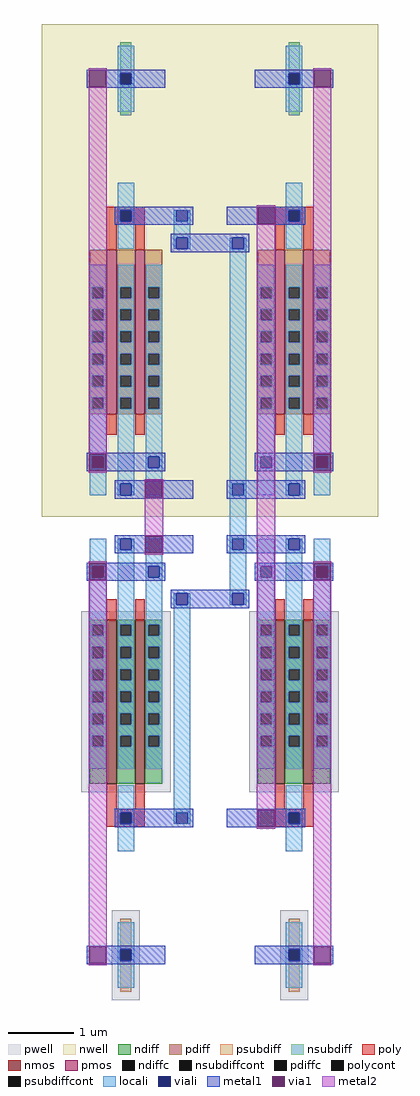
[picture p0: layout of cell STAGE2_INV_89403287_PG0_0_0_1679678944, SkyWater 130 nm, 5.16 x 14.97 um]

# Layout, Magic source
magic
tech sky130A
magscale 1 2
<< locali >>
rect 405 2419 413 2453
rect 447 2419 455 2453
rect 405 2369 455 2419
rect 405 2335 413 2369
rect 447 2335 455 2369
rect 577 2335 585 2369
rect 619 2335 627 2369
rect 577 1613 627 2335
rect 577 1579 585 1613
rect 619 1579 627 1613
rect 577 1445 627 1579
rect 577 1411 585 1445
rect 619 1411 627 1445
rect 577 1277 627 1411
rect 405 1243 413 1277
rect 447 1243 455 1277
rect 577 1243 585 1277
rect 619 1243 627 1277
rect 405 605 455 1243
rect 405 571 413 605
rect 447 571 455 605
<< viali >>
rect 413 2419 447 2453
rect 413 2335 447 2369
rect 585 2335 619 2369
rect 585 1579 619 1613
rect 585 1411 619 1445
rect 413 1243 447 1277
rect 585 1243 619 1277
rect 413 571 447 605
<< metal1 >>
rect 396 2453 464 2464
rect 396 2419 413 2453
rect 447 2419 464 2453
rect 396 2408 464 2419
rect 656 2462 720 2464
rect 656 2410 662 2462
rect 714 2410 720 2462
rect 656 2408 720 2410
rect 396 2369 636 2380
rect 396 2335 413 2369
rect 447 2335 585 2369
rect 619 2335 636 2369
rect 396 2324 636 2335
rect 312 1622 376 1624
rect 312 1570 318 1622
rect 370 1570 376 1622
rect 312 1568 376 1570
rect 568 1613 636 1624
rect 568 1579 585 1613
rect 619 1579 636 1613
rect 568 1568 636 1579
rect 312 1454 376 1456
rect 312 1402 318 1454
rect 370 1402 376 1454
rect 312 1400 376 1402
rect 568 1445 636 1456
rect 568 1411 585 1445
rect 619 1411 636 1445
rect 568 1400 636 1411
rect 396 1277 636 1288
rect 396 1243 413 1277
rect 447 1243 585 1277
rect 619 1243 636 1277
rect 396 1232 636 1243
rect 396 605 464 616
rect 396 571 413 605
rect 447 571 464 605
rect 396 560 464 571
rect 656 614 720 616
rect 656 562 662 614
rect 714 562 720 614
rect 656 560 720 562
<< via1 >>
rect 662 2410 714 2462
rect 318 1570 370 1622
rect 318 1402 370 1454
rect 662 562 714 614
<< metal2 >>
rect 660 2462 716 2468
rect 660 2410 662 2462
rect 714 2410 716 2462
rect 316 1622 372 1628
rect 316 1570 318 1622
rect 370 1570 372 1622
rect 316 1454 372 1570
rect 316 1402 318 1454
rect 370 1402 372 1454
rect 316 1396 372 1402
rect 660 614 716 2410
rect 660 562 662 614
rect 714 562 716 614
rect 660 556 716 562
use NMOS_S_42092372_X1_Y1_1679678942_1679678944  NMOS_S_42092372_X1_Y1_1679678942_1679678944_0
transform -1 0 516 0 -1 1512
box 52 56 395 1482
use NMOS_S_42092372_X1_Y1_1679678942_1679678944  NMOS_S_42092372_X1_Y1_1679678942_1679678944_1
transform 1 0 516 0 -1 1512
box 52 56 395 1482
use PMOS_S_45039047_X1_Y1_1679678943_1679678944  PMOS_S_45039047_X1_Y1_1679678943_1679678944_0
transform -1 0 516 0 1 1512
box 0 0 516 1512
use PMOS_S_45039047_X1_Y1_1679678943_1679678944  PMOS_S_45039047_X1_Y1_1679678943_1679678944_1
transform 1 0 516 0 1 1512
box 0 0 516 1512
<< end >>

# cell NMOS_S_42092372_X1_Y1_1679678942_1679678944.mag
magic
tech sky130A
magscale 1 2
<< pwell >>
rect 215 1206 301 1482
rect 121 289 395 845
<< nmos >>
rect 200 315 230 819
rect 286 315 316 819
<< ndiff >>
rect 147 705 200 819
rect 147 671 155 705
rect 189 671 200 705
rect 147 637 200 671
rect 147 603 155 637
rect 189 603 200 637
rect 147 569 200 603
rect 147 535 155 569
rect 189 535 200 569
rect 147 501 200 535
rect 147 467 155 501
rect 189 467 200 501
rect 147 433 200 467
rect 147 399 155 433
rect 189 399 200 433
rect 147 365 200 399
rect 147 331 155 365
rect 189 331 200 365
rect 147 315 200 331
rect 230 705 286 819
rect 230 671 241 705
rect 275 671 286 705
rect 230 637 286 671
rect 230 603 241 637
rect 275 603 286 637
rect 230 569 286 603
rect 230 535 241 569
rect 275 535 286 569
rect 230 501 286 535
rect 230 467 241 501
rect 275 467 286 501
rect 230 433 286 467
rect 230 399 241 433
rect 275 399 286 433
rect 230 365 286 399
rect 230 331 241 365
rect 275 331 286 365
rect 230 315 286 331
rect 316 705 369 819
rect 316 671 327 705
rect 361 671 369 705
rect 316 637 369 671
rect 316 603 327 637
rect 361 603 369 637
rect 316 569 369 603
rect 316 535 327 569
rect 361 535 369 569
rect 316 501 369 535
rect 316 467 327 501
rect 361 467 369 501
rect 316 433 369 467
rect 316 399 327 433
rect 361 399 369 433
rect 316 365 369 399
rect 316 331 327 365
rect 361 331 369 365
rect 316 315 369 331
<< ndiffc >>
rect 155 671 189 705
rect 155 603 189 637
rect 155 535 189 569
rect 155 467 189 501
rect 155 399 189 433
rect 155 331 189 365
rect 241 671 275 705
rect 241 603 275 637
rect 241 535 275 569
rect 241 467 275 501
rect 241 399 275 433
rect 241 331 275 365
rect 327 671 361 705
rect 327 603 361 637
rect 327 535 361 569
rect 327 467 361 501
rect 327 399 361 433
rect 327 331 361 365
<< psubdiff >>
rect 241 1361 275 1456
rect 241 1232 275 1327
<< psubdiffcont >>
rect 241 1327 275 1361
<< poly >>
rect 200 941 316 951
rect 200 907 241 941
rect 275 907 316 941
rect 200 897 316 907
rect 200 819 230 897
rect 286 819 316 897
rect 200 252 230 315
rect 286 252 316 315
<< polycont >>
rect 241 907 275 941
<< locali >>
rect 233 1361 283 1445
rect 233 1327 241 1361
rect 275 1327 283 1361
rect 233 1243 283 1327
rect 233 941 283 1025
rect 233 907 241 941
rect 275 907 283 941
rect 233 823 283 907
rect 147 705 197 773
rect 147 671 155 705
rect 189 671 197 705
rect 147 637 197 671
rect 147 603 155 637
rect 189 603 197 637
rect 147 569 197 603
rect 147 535 155 569
rect 189 535 197 569
rect 147 501 197 535
rect 147 467 155 501
rect 189 467 197 501
rect 147 433 197 467
rect 147 399 155 433
rect 189 399 197 433
rect 147 365 197 399
rect 147 331 155 365
rect 189 331 197 365
rect 147 185 197 331
rect 147 151 155 185
rect 189 151 197 185
rect 147 67 197 151
rect 233 705 283 773
rect 233 671 241 705
rect 275 671 283 705
rect 233 637 283 671
rect 233 603 241 637
rect 275 603 283 637
rect 233 569 283 603
rect 233 535 241 569
rect 275 535 283 569
rect 233 501 283 535
rect 233 467 241 501
rect 275 467 283 501
rect 233 433 283 467
rect 233 399 241 433
rect 275 399 283 433
rect 233 365 283 399
rect 233 331 241 365
rect 275 331 283 365
rect 233 101 283 331
rect 233 67 241 101
rect 275 67 283 101
rect 319 705 369 773
rect 319 671 327 705
rect 361 671 369 705
rect 319 637 369 671
rect 319 603 327 637
rect 361 603 369 637
rect 319 569 369 603
rect 319 535 327 569
rect 361 535 369 569
rect 319 501 369 535
rect 319 467 327 501
rect 361 467 369 501
rect 319 433 369 467
rect 319 399 327 433
rect 361 399 369 433
rect 319 365 369 399
rect 319 331 327 365
rect 361 331 369 365
rect 319 185 369 331
rect 319 151 327 185
rect 361 151 369 185
rect 319 67 369 151
<< viali >>
rect 241 1327 275 1361
rect 241 907 275 941
rect 155 151 189 185
rect 241 67 275 101
rect 327 151 361 185
<< metal1 >>
rect 138 1370 378 1372
rect 138 1361 318 1370
rect 138 1327 241 1361
rect 275 1327 318 1361
rect 138 1318 318 1327
rect 370 1318 378 1370
rect 138 1316 378 1318
rect 52 941 292 952
rect 52 907 241 941
rect 275 907 292 941
rect 52 896 292 907
rect 138 194 378 196
rect 138 185 318 194
rect 138 151 155 185
rect 189 151 318 185
rect 138 142 318 151
rect 370 142 378 194
rect 138 140 378 142
rect 52 101 292 112
rect 52 67 241 101
rect 275 67 292 101
rect 52 56 292 67
<< via1 >>
rect 318 1318 370 1370
rect 318 185 370 194
rect 318 151 327 185
rect 327 151 361 185
rect 361 151 370 185
rect 318 142 370 151
<< metal2 >>
rect 316 1370 372 1376
rect 316 1318 318 1370
rect 370 1318 372 1370
rect 316 194 372 1318
rect 316 142 318 194
rect 370 142 372 194
rect 316 136 372 142
<< end >>

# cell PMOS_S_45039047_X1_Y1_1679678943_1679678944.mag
magic
tech sky130A
magscale 1 2
<< nwell >>
rect 0 0 516 1512
<< pmos >>
rect 200 315 230 819
rect 286 315 316 819
<< pdiff >>
rect 147 705 200 819
rect 147 671 155 705
rect 189 671 200 705
rect 147 637 200 671
rect 147 603 155 637
rect 189 603 200 637
rect 147 569 200 603
rect 147 535 155 569
rect 189 535 200 569
rect 147 501 200 535
rect 147 467 155 501
rect 189 467 200 501
rect 147 433 200 467
rect 147 399 155 433
rect 189 399 200 433
rect 147 365 200 399
rect 147 331 155 365
rect 189 331 200 365
rect 147 315 200 331
rect 230 705 286 819
rect 230 671 241 705
rect 275 671 286 705
rect 230 637 286 671
rect 230 603 241 637
rect 275 603 286 637
rect 230 569 286 603
rect 230 535 241 569
rect 275 535 286 569
rect 230 501 286 535
rect 230 467 241 501
rect 275 467 286 501
rect 230 433 286 467
rect 230 399 241 433
rect 275 399 286 433
rect 230 365 286 399
rect 230 331 241 365
rect 275 331 286 365
rect 230 315 286 331
rect 316 705 369 819
rect 316 671 327 705
rect 361 671 369 705
rect 316 637 369 671
rect 316 603 327 637
rect 361 603 369 637
rect 316 569 369 603
rect 316 535 327 569
rect 361 535 369 569
rect 316 501 369 535
rect 316 467 327 501
rect 361 467 369 501
rect 316 433 369 467
rect 316 399 327 433
rect 361 399 369 433
rect 316 365 369 399
rect 316 331 327 365
rect 361 331 369 365
rect 316 315 369 331
<< pdiffc >>
rect 155 671 189 705
rect 155 603 189 637
rect 155 535 189 569
rect 155 467 189 501
rect 155 399 189 433
rect 155 331 189 365
rect 241 671 275 705
rect 241 603 275 637
rect 241 535 275 569
rect 241 467 275 501
rect 241 399 275 433
rect 241 331 275 365
rect 327 671 361 705
rect 327 603 361 637
rect 327 535 361 569
rect 327 467 361 501
rect 327 399 361 433
rect 327 331 361 365
<< nsubdiff >>
rect 241 1361 275 1456
rect 241 1232 275 1327
<< nsubdiffcont >>
rect 241 1327 275 1361
<< poly >>
rect 200 941 316 951
rect 200 907 241 941
rect 275 907 316 941
rect 200 897 316 907
rect 200 819 230 897
rect 286 819 316 897
rect 200 252 230 315
rect 286 252 316 315
<< polycont >>
rect 241 907 275 941
<< locali >>
rect 233 1361 283 1445
rect 233 1327 241 1361
rect 275 1327 283 1361
rect 233 1243 283 1327
rect 233 941 283 1025
rect 233 907 241 941
rect 275 907 283 941
rect 233 823 283 907
rect 147 705 197 773
rect 147 671 155 705
rect 189 671 197 705
rect 147 637 197 671
rect 147 603 155 637
rect 189 603 197 637
rect 147 569 197 603
rect 147 535 155 569
rect 189 535 197 569
rect 147 501 197 535
rect 147 467 155 501
rect 189 467 197 501
rect 147 433 197 467
rect 147 399 155 433
rect 189 399 197 433
rect 147 365 197 399
rect 147 331 155 365
rect 189 331 197 365
rect 147 185 197 331
rect 147 151 155 185
rect 189 151 197 185
rect 147 67 197 151
rect 233 705 283 773
rect 233 671 241 705
rect 275 671 283 705
rect 233 637 283 671
rect 233 603 241 637
rect 275 603 283 637
rect 233 569 283 603
rect 233 535 241 569
rect 275 535 283 569
rect 233 501 283 535
rect 233 467 241 501
rect 275 467 283 501
rect 233 433 283 467
rect 233 399 241 433
rect 275 399 283 433
rect 233 365 283 399
rect 233 331 241 365
rect 275 331 283 365
rect 233 101 283 331
rect 233 67 241 101
rect 275 67 283 101
rect 319 705 369 773
rect 319 671 327 705
rect 361 671 369 705
rect 319 637 369 671
rect 319 603 327 637
rect 361 603 369 637
rect 319 569 369 603
rect 319 535 327 569
rect 361 535 369 569
rect 319 501 369 535
rect 319 467 327 501
rect 361 467 369 501
rect 319 433 369 467
rect 319 399 327 433
rect 361 399 369 433
rect 319 365 369 399
rect 319 331 327 365
rect 361 331 369 365
rect 319 185 369 331
rect 319 151 327 185
rect 361 151 369 185
rect 319 67 369 151
<< viali >>
rect 241 1327 275 1361
rect 241 907 275 941
rect 155 151 189 185
rect 241 67 275 101
rect 327 151 361 185
<< metal1 >>
rect 138 1370 378 1372
rect 138 1361 318 1370
rect 138 1327 241 1361
rect 275 1327 318 1361
rect 138 1318 318 1327
rect 370 1318 378 1370
rect 138 1316 378 1318
rect 52 941 292 952
rect 52 907 241 941
rect 275 907 292 941
rect 52 896 292 907
rect 138 194 378 196
rect 138 185 318 194
rect 138 151 155 185
rect 189 151 318 185
rect 138 142 318 151
rect 370 142 378 194
rect 138 140 378 142
rect 52 101 292 112
rect 52 67 241 101
rect 275 67 292 101
rect 52 56 292 67
<< via1 >>
rect 318 1318 370 1370
rect 318 185 370 194
rect 318 151 327 185
rect 327 151 361 185
rect 361 151 370 185
rect 318 142 370 151
<< metal2 >>
rect 316 1370 372 1376
rect 316 1318 318 1370
rect 370 1318 372 1370
rect 316 194 372 1318
rect 316 142 318 194
rect 370 142 372 194
rect 316 136 372 142
<< end >>
